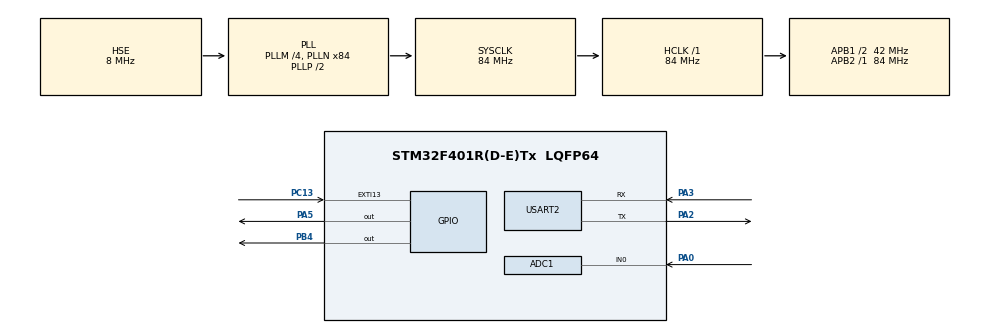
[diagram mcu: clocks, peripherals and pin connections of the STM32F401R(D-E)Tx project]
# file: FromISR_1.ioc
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ADC1.Channel-0\#ChannelRegularConversion=ADC_CHANNEL_0
ADC1.NbrOfConversionFlag=1
ADC1.Rank-0\#ChannelRegularConversion=1
ADC1.SamplingTime-0\#ChannelRegularConversion=ADC_SAMPLETIME_3CYCLES
ADC1.master=1
Mcu.Family=STM32F4
Mcu.Name=STM32F401R(D-E)Tx
Mcu.Package=LQFP64
NVIC.EXTI15_10_IRQn=true\:6\:0\:true\:false\:true\:true\:true\:true
NVIC.PriorityGroup=NVIC_PRIORITYGROUP_4
NVIC.TIM1_TRG_COM_TIM11_IRQn=true\:15\:0\:false\:false\:true\:false\:true\:true
NVIC.TIM2_IRQn=true\:1\:0\:true\:false\:true\:true\:true\:true
NVIC.TimeBase=TIM1_TRG_COM_TIM11_IRQn
NVIC.TimeBaseIP=TIM11
NVIC.USART2_IRQn=true\:7\:0\:true\:false\:true\:true\:true\:true
PA0-WKUP.Signal=ADCx_IN0
PA2.Mode=Asynchronous
PA2.Signal=USART2_TX
PA3.Mode=Asynchronous
PA3.Signal=USART2_RX
PA5.Signal=GPIO_Output
PB4.Signal=GPIO_Output
PC13-ANTI_TAMP.GPIO_ModeDefaultEXTI=GPIO_MODE_IT_FALLING
PC13-ANTI_TAMP.GPIO_PuPd=GPIO_PULLUP
PC13-ANTI_TAMP.Signal=GPXTI13
PH0\ -\ OSC_IN.Mode=HSE-External-Clock-Source
PH0\ -\ OSC_IN.Signal=RCC_OSC_IN
PH1\ -\ OSC_OUT.Mode=HSE-External-Clock-Source
PH1\ -\ OSC_OUT.Signal=RCC_OSC_OUT
ProjectManager.HeapSize=0x200
ProjectManager.StackSize=0x400
ProjectManager.TargetToolchain=STM32CubeIDE
RCC.48MHZClocksFreq_Value=42000000
RCC.AHBFreq_Value=84000000
RCC.APB1CLKDivider=RCC_HCLK_DIV2
RCC.APB1Freq_Value=42000000
RCC.APB1TimFreq_Value=84000000
RCC.APB2Freq_Value=84000000
RCC.APB2TimFreq_Value=84000000
RCC.CortexFreq_Value=84000000
RCC.HCLKFreq_Value=84000000
RCC.HSE_VALUE=8000000
RCC.HSI_VALUE=16000000
RCC.LSE_VALUE=32768
RCC.PLLM=4
RCC.PLLN=84
RCC.PLLSourceVirtual=RCC_PLLSOURCE_HSE
RCC.SYSCLKFreq_VALUE=84000000
RCC.SYSCLKSource=RCC_SYSCLKSOURCE_PLLCLK
RCC.VCOOutputFreq_Value=168000000
SH.ADCx_IN0.0=ADC1_IN0,IN0
TIM2.Period=20000000
TIM2.Prescaler=84 - 1
USART2.VirtualMode=VM_ASYNC
VP_SYS_VS_tim11.Mode=TIM11
VP_TIM2_VS_ClockSourceINT.Mode=Internal
board=custom

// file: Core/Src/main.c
/* USER CODE BEGIN Header */
/**
  ******************************************************************************
  * @file           : main.c
  * @brief          : Main program body
  ******************************************************************************
  * @attention
  *
  * Copyright (c) 2022 STMicroelectronics.
  * All rights reserved.
  *
  * This software is licensed under terms that can be found in the LICENSE file
  * in the root directory of this software component.
  * If no LICENSE file comes with this software, it is provided AS-IS.
  *
  ******************************************************************************
  */
/* USER CODE END Header */
#include "main.h"
#include "adc.h"
#include "tim.h"
#include "usart.h"
#include "gpio.h"

/* USER CODE BEGIN Includes */
#include "FreeRTOS.h"
#include "task.h"
#include "cmsis_os.h"
#include "semphr.h"
#include "queue.h"

#include <stdio.h>
#include <stdarg.h>
#include <string.h>
/* USER CODE END Includes */

/* USER CODE BEGIN PTD */
typedef struct{
	uint8_t ADC_CH;
	uint16_t ch_value;
	float mV;
}ADC_Data_t;

typedef struct{
	uint16_t i;
	uint8_t lastByte;
	uint8_t data[20];
}UART_RxData_t;
/* USER CODE END PTD */

/* USER CODE BEGIN PM */
/**
 * 0 : no se desea usar segger system view
 * 1 : se usa para la depuracion
 */
#define SYSTEM_VIEW				1
/* USER CODE END PM */

/* USER CODE BEGIN PV */
TaskHandle_t task1_handle;
osThreadId task3_handle;

SemaphoreHandle_t xSemph;
QueueHandle_t     xQueue;
QueueHandle_t     xQueueAdc;

UART_RxData_t data;

SemaphoreHandle_t xSemaphore = NULL;

/* USER CODE END PV */

void SystemClock_Config(void);
/* USER CODE BEGIN PFP */
void Task1(void *params);
void Task2(void *params);
void Task3(const void *params);

osThreadDef(Tarea_3, Task3, 3, 0, configMINIMAL_STACK_SIZE);

void UART_Printf(char *format,...);
/* USER CODE END PFP */

int main(void)
{
  /* USER CODE BEGIN 1 */
	BaseType_t status;
  /* USER CODE END 1 */

  /* MCU Configuration--------------------------------------------------------*/

  /* Reset of all peripherals, Initializes the Flash interface and the Systick. */
  HAL_Init();

  /* Configure the system clock */
  SystemClock_Config();

  /* Initialize all configured peripherals */
  MX_GPIO_Init();
  MX_USART2_UART_Init();
  MX_TIM2_Init();
  MX_ADC1_Init();
  /* USER CODE BEGIN 2 */
#if SYSTEM_VIEW
//  NVIC_SetPriorityGrouping(0);
  DWT->CTRL |= 1;
  SEGGER_SYSVIEW_Conf();
  /*solo se va usar cuando se trabaje en modo one shot*/
//  SEGGER_SYSVIEW_Start();

#endif

  status = xTaskCreate(Task1,
		  	  	  	  "tarea 1",
					  400,
					  "hola mundo\r\n",
					  3,
					  &task1_handle);
  configASSERT(status == pdPASS);

  status = xTaskCreate(Task2,
		  	  	  	  "tarea 2",
					 400,
					  NULL,
					  3,
					  NULL);
  configASSERT(status == pdPASS);

  task3_handle = osThreadCreate(osThread(Tarea_3), NULL);

  //semaforo
  xSemph = xSemaphoreCreateBinary();
  //queue
  xQueue = xQueueCreate(20, sizeof(UART_RxData_t));		//recibir datos del uart

  xQueueAdc  = xQueueCreate(5, sizeof(ADC_Data_t));	//para los datos del adc
  //mutex
  xSemaphore = xSemaphoreCreateMutex();
  /* inicializa el kernel*/
  osKernelStart();
  /* USER CODE END 2 */

  /* Infinite loop */
  while (1)
  {

  }
}

void SystemClock_Config(void)
{
  RCC_OscInitTypeDef RCC_OscInitStruct = {0};
  RCC_ClkInitTypeDef RCC_ClkInitStruct = {0};

  /** Configure the main internal regulator output voltage
  */
  __HAL_RCC_PWR_CLK_ENABLE();
  __HAL_PWR_VOLTAGESCALING_CONFIG(PWR_REGULATOR_VOLTAGE_SCALE2);

  /** Initializes the RCC Oscillators according to the specified parameters
  * in the RCC_OscInitTypeDef structure.
  */
  RCC_OscInitStruct.OscillatorType = RCC_OSCILLATORTYPE_HSE;
  RCC_OscInitStruct.HSEState = RCC_HSE_BYPASS;
  RCC_OscInitStruct.PLL.PLLState = RCC_PLL_ON;
  RCC_OscInitStruct.PLL.PLLSource = RCC_PLLSOURCE_HSE;
  RCC_OscInitStruct.PLL.PLLM = 4;
  RCC_OscInitStruct.PLL.PLLN = 84;
  RCC_OscInitStruct.PLL.PLLP = RCC_PLLP_DIV2;
  RCC_OscInitStruct.PLL.PLLQ = 4;
  if (HAL_RCC_OscConfig(&RCC_OscInitStruct) != HAL_OK)
  {
    Error_Handler();
  }

  /** Initializes the CPU, AHB and APB buses clocks
  */
  RCC_ClkInitStruct.ClockType = RCC_CLOCKTYPE_HCLK|RCC_CLOCKTYPE_SYSCLK
                              |RCC_CLOCKTYPE_PCLK1|RCC_CLOCKTYPE_PCLK2;
  RCC_ClkInitStruct.SYSCLKSource = RCC_SYSCLKSOURCE_PLLCLK;
  RCC_ClkInitStruct.AHBCLKDivider = RCC_SYSCLK_DIV1;
  RCC_ClkInitStruct.APB1CLKDivider = RCC_HCLK_DIV2;
  RCC_ClkInitStruct.APB2CLKDivider = RCC_HCLK_DIV1;

  if (HAL_RCC_ClockConfig(&RCC_ClkInitStruct, FLASH_LATENCY_2) != HAL_OK)
  {
    Error_Handler();
  }
}

/* USER CODE BEGIN 4 */
void Task1(void *params){

	/*inicializacion*/
	huart2.Instance->CR1 &=~ USART_CR1_UE;
	huart2.Instance->CR1 |= USART_CR1_RE;
	huart2.Instance->CR1 |= USART_CR1_RXNEIE;
	NVIC_EnableIRQ(USART2_IRQn);
	NVIC_SetPriority(USART2_IRQn, 7);
	huart2.Instance->CR1 |= USART_CR1_UE;

	UART_RxData_t data;
	/*loop*/
	while(1){
		//se espera los datos
		if(xQueueReceive(xQueue, (void*)&data, 10000)){
			//procesar los datos
			UART_Printf("i->%d\r\n",data.i);
			UART_Printf("data->%s\r\n",data.data);
			UART_Printf("data->0x%X\r\n",data.lastByte);
		}else{
			UART_Printf("envie datos por el uart\r\n");
		}
	}
	/*Elimina la tarea*/
	vTaskDelete(NULL);
}
void Task2(void *params){

	for(;;){
		if(xSemaphoreTake(xSemph, portMAX_DELAY)){ //espera por siempre
			HAL_GPIO_TogglePin(GPIOA, GPIO_PIN_5);
			SEGGER_SYSVIEW_PrintfHost("SEMAFORO RECIBIDO\r\n");
			UART_Printf("SEMAFORO RECIBIDO\r\n");
		}
		vTaskDelay(pdMS_TO_TICKS(200));
	}
	/*Elimina la tarea*/
	vTaskDelete(NULL);
}

void Task3(const void *params){
	ADC_Data_t xData;

	while(1){
		HAL_ADC_Start(&hadc1);
		HAL_Delay(1);
		xData.ch_value = HAL_ADC_GetValue(&hadc1);
		xData.ADC_CH = 0;
		xData.mV = xData.ch_value * 3300.0 / 4095;
		if(xQueueSend(xQueueAdc, &xData, portMAX_DELAY)){
			//dato enviado correctamente
		}
		vTaskDelay(pdMS_TO_TICKS(2000));
	}
	vTaskDelete(NULL);
}
/****************************************************************/
void HAL_GPIO_EXTI_Callback(uint16_t GPIO_Pin)
{
	//enviar un semaforo
	xSemaphoreGiveFromISR(xSemph, NULL);
}

/****************************************************************/
void UART_Printf(char *format,...){
    char str[80];

    /*Extract the the argument list using VA apis */
    va_list args;
    va_start(args, format);
    vsprintf(str, format,args);
    if(xSemaphoreTake( xSemaphore, ( TickType_t ) 10 ) == pdTRUE){
    	HAL_UART_Transmit(&huart2, (uint8_t*)str, strlen(str), 10);
    	va_end(args);
    	//libera el recurso compartidos
    	xSemaphoreGive( xSemaphore );
    }else{
    	//respaldo usar otro uart
    	//.......
    }

}
/* USER CODE END 4 */

void HAL_TIM_PeriodElapsedCallback(TIM_HandleTypeDef *htim)
{
  if (htim->Instance == TIM11) {
    HAL_IncTick();
  }
}

void Error_Handler(void)
{
  __disable_irq();
  while (1)
  {
  }
}
